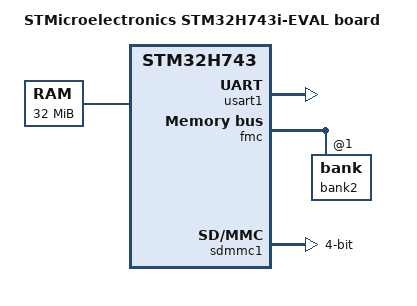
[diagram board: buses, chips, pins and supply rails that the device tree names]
/*
 * Copyright 2017 - Alexandre Torgue <alexandre.torgue@st.com>
 *
 * This file is dual-licensed: you can use it either under the terms
 * of the GPL or the X11 license, at your option. Note that this dual
 * licensing only applies to this file, and not this project as a
 * whole.
 *
 *  a) This file is free software; you can redistribute it and/or
 *     modify it under the terms of the GNU General Public License as
 *     published by the Free Software Foundation; either version 2 of the
 *     License, or (at your option) any later version.
 *
 *     This file is distributed in the hope that it will be useful,
 *     but WITHOUT ANY WARRANTY; without even the implied warranty of
 *     MERCHANTABILITY or FITNESS FOR A PARTICULAR PURPOSE.  See the
 *     GNU General Public License for more details.
 *
 * Or, alternatively,
 *
 *  b) Permission is hereby granted, free of charge, to any person
 *     obtaining a copy of this software and associated documentation
 *     files (the "Software"), to deal in the Software without
 *     restriction, including without limitation the rights to use,
 *     copy, modify, merge, publish, distribute, sublicense, and/or
 *     sell copies of the Software, and to permit persons to whom the
 *     Software is furnished to do so, subject to the following
 *     conditions:
 *
 *     The above copyright notice and this permission notice shall be
 *     included in all copies or substantial portions of the Software.
 *
 *     THE SOFTWARE IS PROVIDED "AS IS", WITHOUT WARRANTY OF ANY KIND,
 *     EXPRESS OR IMPLIED, INCLUDING BUT NOT LIMITED TO THE WARRANTIES
 *     OF MERCHANTABILITY, FITNESS FOR A PARTICULAR PURPOSE AND
 *     NONINFRINGEMENT. IN NO EVENT SHALL THE AUTHORS OR COPYRIGHT
 *     HOLDERS BE LIABLE FOR ANY CLAIM, DAMAGES OR OTHER LIABILITY,
 *     WHETHER IN AN ACTION OF CONTRACT, TORT OR OTHERWISE, ARISING
 *     FROM, OUT OF OR IN CONNECTION WITH THE SOFTWARE OR THE USE OR
 *     OTHER DEALINGS IN THE SOFTWARE.
 */

/dts-v1/;
#include "stm32h743.dtsi"
#include "stm32h743-pinctrl.dtsi"
#include <dt-bindings/memory/stm32-sdram.h>

/ {
	model = "STMicroelectronics STM32H743i-EVAL board";
	compatible = "st,stm32h743i-eval", "st,stm32h743";

	chosen {
		bootargs = "root=/dev/ram";
		stdout-path = "serial0:115200n8";
	};

	memory {
		reg = <0xd0000000 0x2000000>;
	};

	aliases {
		serial0 = &usart1;
		gpio0 = &gpioa;
		gpio1 = &gpiob;
		gpio2 = &gpioc;
		gpio3 = &gpiod;
		gpio4 = &gpioe;
		gpio5 = &gpiof;
		gpio6 = &gpiog;
		gpio7 = &gpioh;
		gpio8 = &gpioi;
		gpio9 = &gpioj;
		gpio10 = &gpiok;
	};
};

&usart1 {
	pinctrl-0 = <&usart1_pins>;
	pinctrl-names = "default";
	status = "okay";
};

&fmc {
	pinctrl-0 = <&fmc_pins>;
	pinctrl-names = "default";
	status = "okay";

	/*
	 * Memory configuration from sdram datasheet IS42S32800G-6BLI
	 * firsct bank is bank@0
	 * second bank is bank@1
	 */
	bank2: bank@1 {
		st,sdram-control = /bits/ 8 <NO_COL_9 NO_ROW_12 MWIDTH_32 BANKS_4
				  CAS_2 SDCLK_3 RD_BURST_EN RD_PIPE_DL_0>;
		st,sdram-timing = /bits/ 8 <TMRD_1 TXSR_1 TRAS_1 TRC_6 TRP_2
				  TWR_1 TRCD_1>;
		st,sdram-refcount = <1539>;
	};
};

&sdmmc1 {
	status = "okay";
	pinctrl-0 = <&sdmmc1_pins>,
		    <&pinctrl_sdmmc1_level_shifter>;
	pinctrl-names = "default";
	bus-width = <4>;
	st,dirpol;
};
